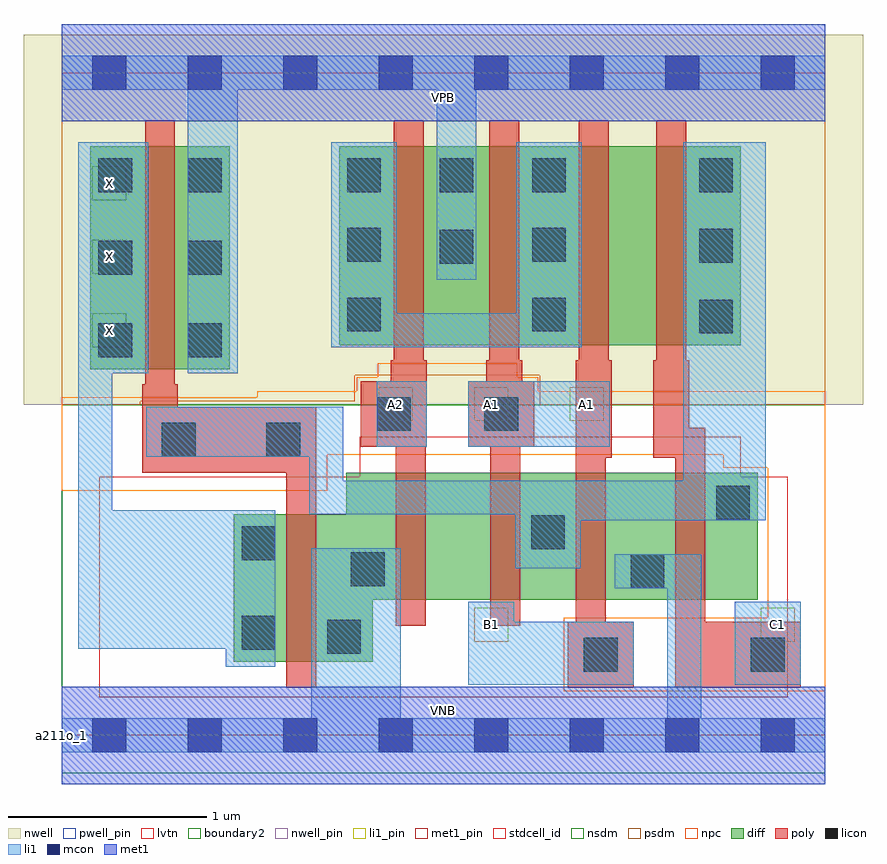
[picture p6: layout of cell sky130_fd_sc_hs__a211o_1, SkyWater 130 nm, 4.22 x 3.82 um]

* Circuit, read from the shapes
.subckt sky130_fd_sc_hs__a211o_1 A1 A2 B1 C1 VGND VNB VPB VPWR X
XM1 VGND n1 X VNB sky130_fd_pr__nfet_01v8_lvt w=0.74 l=0.15
XM2 n2 A2 VGND VNB sky130_fd_pr__nfet_01v8_lvt w=0.64 l=0.15
XM3 n1 A1 n2 VNB sky130_fd_pr__nfet_01v8_lvt w=0.64 l=0.15
XM4 VGND B1 n1 VNB sky130_fd_pr__nfet_01v8_lvt w=0.64 l=0.15
XM5 n1 C1 VGND VNB sky130_fd_pr__nfet_01v8_lvt w=0.64 l=0.15
XM6 VPWR n1 X VPB sky130_fd_pr__pfet_01v8 w=1.12 l=0.15
XM7 VPWR A2 n3 VPB sky130_fd_pr__pfet_01v8 w=1 l=0.15
XM8 n3 A1 VPWR VPB sky130_fd_pr__pfet_01v8 w=1 l=0.15
XM9 n4 B1 n3 VPB sky130_fd_pr__pfet_01v8 w=1 l=0.15
XM10 n1 C1 n4 VPB sky130_fd_pr__pfet_01v8 w=1 l=0.15
.ends

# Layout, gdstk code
import gdstk
lib = gdstk.Library(unit=1e-6, precision=1e-09)
def R(c, l, rs):  # rectangles x0, y0, x1, y1
    for r in rs: c.add(gdstk.rectangle(r[:2], r[2:], *l))
def A(c, l, x, y, w, h, nx, ny, dx, dy):  # array of equal rectangles
    R(c, l, [(x+i*dx, y+j*dy, x+i*dx+w, y+j*dy+h) for i in range(nx) for j in range(ny)])
def P(c, l, *ps):  # polygons
    for p in ps: c.add(gdstk.Polygon(p, *l))
nwell_pin = (64, 16)
nwell = (64, 20)
diff = (65, 20)
poly = (66, 20)
licon = (66, 44)
li1_pin = (67, 16)
li1 = (67, 20)
mcon = (67, 44)
met1_pin = (68, 16)
met1 = (68, 20)
stdcell_id = (81, 4)
nsdm = (93, 44)
psdm = (94, 20)
npc = (95, 20)
pwell_pin = (122, 16)
lvtn = (125, 44)
boundary2 = (236, 0)

sky130_fd_sc_hs__a211o_1 = lib.new_cell('sky130_fd_sc_hs__a211o_1')
R(sky130_fd_sc_hs__a211o_1, nwell_pin, [(0,3.085,3.84,3.33)])
R(sky130_fd_sc_hs__a211o_1, nwell, [(-0.19,1.66,4.03,3.52)])
R(sky130_fd_sc_hs__a211o_1, diff, [(0.145,1.84,0.845,2.96), (1.395,1.96,3.415,2.96)])
P(sky130_fd_sc_hs__a211o_1, diff, [(3.5,1.32),(1.43,1.32),(1.43,1.11),(0.865,1.11),(0.865,0.37),(1.565,0.37),(1.565,0.68),(3.5,0.68)])
P(sky130_fd_sc_hs__a211o_1, poly, [(1.28,1.65),(0.585,1.65),(0.585,1.765),(0.57,1.765),(0.57,3.09),(0.42,3.09),(0.42,1.765),(0.405,1.765),(0.405,1.32),(1.13,1.32),(1.13,0.24),(1.28,0.24)],
  [(1.835,1.885),(1.82,1.885),(1.82,3.09),(1.67,3.09),(1.67,1.885),(1.655,1.885),(1.655,1.78),(1.505,1.78),(1.505,1.45),(1.68,1.45),(1.68,0.55),(1.83,0.55),(1.83,1.45),(1.835,1.45)],
  [(2.375,1.78),(2.315,1.78),(2.315,1.885),(2.3,1.885),(2.3,3.09),(2.15,3.09),(2.15,1.885),(2.135,1.885),(2.135,1.78),(2.045,1.78),(2.045,1.45),(2.155,1.45),(2.155,0.55),(2.305,0.55),(2.305,1.45),(2.375,1.45)],
  [(2.875,0.57),(2.735,0.57),(2.735,1.395),(2.765,1.395),(2.765,1.885),(2.75,1.885),(2.75,3.09),(2.6,3.09),(2.6,1.885),(2.585,1.885),(2.585,0.57),(2.545,0.57),(2.545,0.24),(2.875,0.24)],
  [(3.715,0.57),(3.235,0.57),(3.235,1.545),(3.155,1.545),(3.155,1.885),(3.14,1.885),(3.14,3.09),(2.99,3.09),(2.99,1.885),(2.975,1.885),(2.975,1.395),(3.085,1.395),(3.085,0.24),(3.715,0.24)])
A(sky130_fd_sc_hs__a211o_1, licon, 0.185, 1.9, 0.17, 0.17, 1, 3, 0, 0.415)
A(sky130_fd_sc_hs__a211o_1, licon, 0.635, 1.9, 0.17, 0.17, 1, 3, 0, 0.415)
A(sky130_fd_sc_hs__a211o_1, licon, 3.205, 2.02, 0.17, 0.17, 1, 3, 0, 0.355)
A(sky130_fd_sc_hs__a211o_1, licon, 1.435, 2.73, 0.17, 0.17, 3, 1, 0.465, 0)
R(sky130_fd_sc_hs__a211o_1, licon, [(2.625,0.32,2.795,0.49), (3.465,0.32,3.635,0.49), (1.335,0.41,1.505,0.58), (0.905,0.43,1.075,0.6), (2.86,0.74,3.03,0.91), (1.455,0.75,1.625,0.92), (0.905,0.88,1.075,1.05), (2.36,0.935,2.53,1.105), (3.29,1.085,3.46,1.255), (0.505,1.4,0.675,1.57), (1.03,1.4,1.2,1.57), (1.585,1.53,1.755,1.7), (2.125,1.53,2.295,1.7), (1.435,2.03,1.605,2.2), (2.365,2.03,2.535,2.2), (1.9,2.37,2.07,2.54), (1.435,2.38,1.605,2.55), (2.365,2.38,2.535,2.55)])
A(sky130_fd_sc_hs__a211o_1, li1_pin, 1.595, 1.58, 0.17, 0.17, 3, 1, 0.48, 0)
A(sky130_fd_sc_hs__a211o_1, li1_pin, 0.155, 1.95, 0.17, 0.17, 1, 3, 0, 0.37)
R(sky130_fd_sc_hs__a211o_1, li1_pin, [(2.075,0.47,2.245,0.64), (3.515,0.47,3.685,0.64)])
R(sky130_fd_sc_hs__a211o_1, li1, [(3.385,0.255,3.715,0.67), (1.585,1.45,1.835,1.78), (2.045,1.45,2.755,1.78)])
P(sky130_fd_sc_hs__a211o_1, li1, [(0.635,1.82),(0.635,3.245),(0,3.245),(0,3.415),(3.84,3.415),(3.84,3.245),(2.085,3.245),(2.085,2.29),(1.885,2.29),(1.885,3.245),(0.885,3.245),(0.885,1.82)],
  [(1.255,0.085),(1.255,0.94),(1.705,0.94),(1.705,0.085),(3.045,0.085),(3.045,0.74),(2.78,0.74),(2.78,0.91),(3.215,0.91),(3.215,0.085),(3.84,0.085),(3.84,-0.085),(0,-0.085),(0,0.085)],
  [(1.245,1.11),(1.245,1.4),(0.425,1.4),(0.425,1.65),(1.415,1.65),(1.415,1.28),(3.125,1.28),(3.125,2.98),(3.54,2.98),(3.54,1.08),(2.61,1.08),(2.61,0.84),(2.28,0.84),(2.28,1.11)],
  [(0.085,2.98),(0.435,2.98),(0.435,1.82),(0.255,1.82),(0.255,1.13),(1.075,1.13),(1.075,0.345),(0.825,0.345),(0.825,0.435),(0.085,0.435)],
  [(2.275,0.57),(2.875,0.57),(2.875,0.255),(2.045,0.255),(2.045,0.67),(2.275,0.67)],
  [(2.285,2.12),(2.285,2.98),(2.615,2.98),(2.615,1.95),(1.355,1.95),(1.355,2.98),(1.685,2.98),(1.685,2.12)])
A(sky130_fd_sc_hs__a211o_1, mcon, 0.155, -0.085, 0.17, 0.17, 8, 2, 0.48, 3.33)
R(sky130_fd_sc_hs__a211o_1, met1_pin, [(0,0,3.84,0.245), (0,3.085,3.84,3.33)])
R(sky130_fd_sc_hs__a211o_1, met1, [(0,-0.245,3.84,0.245), (0,3.085,3.84,3.575)])
R(sky130_fd_sc_hs__a211o_1, stdcell_id, [(0,0,3.84,3.33)])
R(sky130_fd_sc_hs__a211o_1, nsdm, [(0,-0.19,3.84,1.66)])
P(sky130_fd_sc_hs__a211o_1, psdm, [(3.84,3.52),(0,3.52),(0,1.66),(0.395,1.66),(0.395,1.68),(1.475,1.68),(1.475,1.81),(2.405,1.81),(2.405,1.66),(3.84,1.66)])
P(sky130_fd_sc_hs__a211o_1, npc, [(3.84,1.73),(2.395,1.73),(2.395,1.8),(2.29,1.8),(2.29,1.87),(1.59,1.87),(1.59,1.8),(1.485,1.8),(1.485,1.73),(0.985,1.73),(0.985,1.7),(0,1.7),(0,1.23),(1.335,1.23),(1.335,1.41),(3.325,1.41),(3.325,1.345),(3.55,1.345),(3.55,0.59),(2.525,0.59),(2.525,0.22),(3.84,0.22)])
R(sky130_fd_sc_hs__a211o_1, pwell_pin, [(0,0,3.84,0.245)])
P(sky130_fd_sc_hs__a211o_1, lvtn, [(3.65,1.3),(3.415,1.3),(3.415,1.5),(1.5,1.5),(1.5,1.3),(0.19,1.3),(0.19,0.19),(3.65,0.19)])
R(sky130_fd_sc_hs__a211o_1, boundary2, [(0,0,3.84,3.33)])
sky130_fd_sc_hs__a211o_1.add(gdstk.Label('a211o_1', (0,0), layer=83, texttype=44))
sky130_fd_sc_hs__a211o_1.add(gdstk.Label('VNB', (1.92,0.123), layer=64, texttype=59))
sky130_fd_sc_hs__a211o_1.add(gdstk.Label('VPB', (1.92,3.208), layer=64, texttype=5))
sky130_fd_sc_hs__a211o_1.add(gdstk.Label('VPWR', (1.92,3.208), layer=68, texttype=5))
sky130_fd_sc_hs__a211o_1.add(gdstk.Label('VGND', (1.92,0.123), layer=68, texttype=5))
sky130_fd_sc_hs__a211o_1.add(gdstk.Label('X', (0.24,2.035), layer=67, texttype=5))
sky130_fd_sc_hs__a211o_1.add(gdstk.Label('X', (0.24,2.405), layer=67, texttype=5))
sky130_fd_sc_hs__a211o_1.add(gdstk.Label('X', (0.24,2.775), layer=67, texttype=5))
sky130_fd_sc_hs__a211o_1.add(gdstk.Label('C1', (3.6,0.555), layer=67, texttype=5))
sky130_fd_sc_hs__a211o_1.add(gdstk.Label('B1', (2.16,0.555), layer=67, texttype=5))
sky130_fd_sc_hs__a211o_1.add(gdstk.Label('A2', (1.68,1.665), layer=67, texttype=5))
sky130_fd_sc_hs__a211o_1.add(gdstk.Label('A1', (2.16,1.665), layer=67, texttype=5))
sky130_fd_sc_hs__a211o_1.add(gdstk.Label('A1', (2.64,1.665), layer=67, texttype=5))

lib.write_gds('sky130_fd_sc_hs__a211o_1.gds')
